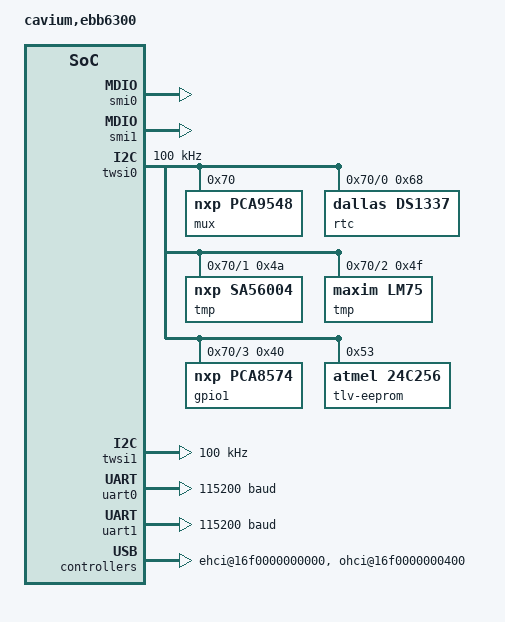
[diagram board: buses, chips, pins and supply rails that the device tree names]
/dts-v1/;
/*
 * Cavium Inc. EBB6300 board
 */
/ {
	model = "cavium,ebb6300";
	compatible = "cavium,ebb6300";
	#address-cells = <2>;
	#size-cells = <2>;
	interrupt-parent = <&ciu>;

	soc@0 {
		compatible = "simple-bus";
		#address-cells = <2>;
		#size-cells = <2>;
		ranges; /* Direct mapping */

		ciu: interrupt-controller@1070000000000 {
			compatible = "cavium,octeon-3860-ciu";
			interrupt-controller;
			/* Interrupts are specified by two parts:
			 * 1) Controller register (0 or 1)
			 * 2) Bit within the register (0..63)
			 */
			#interrupt-cells = <2>;
			reg = <0x10700 0x00000000 0x0 0x7000>;
		};

		gpio: gpio-controller@1070000000800 {
			#gpio-cells = <2>;
			compatible = "cavium,octeon-3860-gpio";
			reg = <0x10700 0x00000800 0x0 0x100>;
			gpio-controller;
			/* Interrupts are specified by two parts:
			 * 1) GPIO pin number (0..15)
			 * 2) Triggering (1 - edge rising
			 *		  2 - edge falling
			 *		  4 - level active high
			 *		  8 - level active low)
			 */
			interrupt-controller;
			#interrupt-cells = <2>;
			/* The GPIO pins connect to 16 consecutive CUI bits */
			interrupts = <0 16>; /* <0 17> <0 18> <0 19>
				     <0 20> <0 21> <0 22> <0 23>
				     <0 24> <0 25> <0 26> <0 27>
				     <0 28> <0 29> <0 30> <0 31>; */
		};

		smi0: mdio@1180000001800 {
			compatible = "cavium,octeon-3860-mdio";
			#address-cells = <1>;
			#size-cells = <0>;
			reg = <0x11800 0x00001800 0x0 0x40>;
		};

		smi1: mdio@1180000001900 {
			compatible = "cavium,octeon-3860-mdio";
			#address-cells = <1>;
			#size-cells = <0>;
			reg = <0x11800 0x00001900 0x0 0x40>;
		};

		pip: pip@11800a0000000 {
			compatible = "cavium,octeon-3860-pip";
			#address-cells = <1>;
			#size-cells = <0>;
			reg = <0x11800 0xa0000000 0x0 0x2000>;

			interface@X {
				cavium,qlm-trim = "0,sgmii";
				compatible = "cavium,octeon-3860-pip-interface";
				#address-cells = <1>;
				#size-cells = <0>;
				reg = <0>; /* interface */
			};

			interface@Y {
				cavium,qlm-trim = "0,xaui";
				compatible = "cavium,octeon-3860-pip-interface";
				#address-cells = <1>;
				#size-cells = <0>;
				reg = <0>; /* interface */
			};
		};

		twsi0: i2c@1180000001000 {
			#address-cells = <1>;
			#size-cells = <0>;
			compatible = "cavium,octeon-3860-twsi";
			reg = <0x11800 0x00001000 0x0 0x200>;
			interrupts = <0 45>;
			clock-frequency = <100000>;

			mux@70 {
				compatible = "nxp,pca9548";
				reg = <0x70>;
				#address-cells = <1>;
				#size-cells = <0>;

				i2c@0 {
					#address-cells = <1>;
					#size-cells = <0>;
					reg = <0>;

					rtc@68 {
						compatible = "dallas,ds1337";
						reg = <0x68>;
					};
				};
				i2c@1 {
					#address-cells = <1>;
					#size-cells = <0>;
					reg = <1>;
                        		tmp@4a {
			                	compatible = "nxp,sa56004";
				                reg = <0x4a>;
					};
				};
				i2c@2 {
					#address-cells = <1>;
					#size-cells = <0>;
					reg = <2>;
					tmp@4f {
						compatible = "maxim,lm75";
						reg = <0x4f>;
					};
				};

				i2c@3 {
					#address-cells = <1>;
					#size-cells = <0>;
					reg = <3>;

					gpio1: gpio@38 {
						compatible = "nxp,pca8574";
						reg = <0x40>;
						/* Two cells, the GPIO pin number and flags. */
						#gpio-cells = <2>;
						gpio-controller;
					};
				};

			};
			tlv-eeprom@53 {	/* board serial EEPROM */
				compatible = "atmel,24c256";
				reg = <0x53>;
				pagesize = <64>;
			};
		};

		twsi1: i2c@1180000001200 {
			#address-cells = <1>;
			#size-cells = <0>;
			compatible = "cavium,octeon-3860-twsi";
			reg = <0x11800 0x00001200 0x0 0x200>;
			interrupts = <0 59>;
			clock-frequency = <100000>;
		};

		uart0: serial@1180000000800 {
			compatible = "cavium,octeon-3860-uart","ns16550";
			reg = <0x11800 0x00000800 0x0 0x400>;
			clock-frequency = <0>;
			current-speed = <115200>;
			reg-shift = <3>;
			interrupts = <0 34>;
		};

		uart1: serial@1180000000c00 {
			compatible = "cavium,octeon-3860-uart","ns16550";
			reg = <0x11800 0x00000c00 0x0 0x400>;
			clock-frequency = <0>;
			current-speed = <115200>;
			reg-shift = <3>;
			interrupts = <0 35>;
		};

		bootbus: bootbus@1180000000000 {
			compatible = "cavium,octeon-3860-bootbus";
			reg = <0x11800 0x00000000 0x0 0x200>;
			/* The chip select number and offset */
			#address-cells = <2>;
			/* The size of the chip select region */
			#size-cells = <1>;
			ranges = <0 0  0x0     0x17c00000  0x8400000>,
				 <1 0  0x10000 0x30000000  0>,
				 <2 0  0x0     0x11000000  0x1000000>,
				 <3 0  0x10000 0x50000000  0>,
				 <4 0  0x10000 0x60000000  0>,
				 <5 0  0x10000 0x70000000  0>,
				 <6 0  0x10000 0x80000000  0>,
				 <7 0  0x10000 0x90000000  0>;

			cavium,cs-config@0 {
				compatible = "cavium,octeon-3860-bootbus-config";
				cavium,cs-index = <0>;
				cavium,t-adr  = <10>;
				cavium,t-ale = <34>;
				cavium,t-ce   = <50>;
				cavium,t-oe   = <50>;
				cavium,t-we   = <35>;
				cavium,t-rd-hld = <25>;
				cavium,t-wr-hld = <35>;
				cavium,t-pause  = <0>;
				cavium,t-wait   = <300>;
				cavium,t-page   = <25>;
				cavium,t-rd-dly = <0>;

				cavium,pages     = <0>;
				cavium,bus-width = <16>;
				cavium,ale-mode = <1>;
			};
			cavium,cs-config@2 {
				compatible = "cavium,octeon-3860-bootbus-config";
				cavium,cs-index  = <2>;
				cavium,t-adr     = <85>;
				cavium,t-ale     = <25>;
				cavium,t-ce      = <50>;
				cavium,t-oe      = <20>;
				cavium,t-we      = <46>;
				cavium,t-rd-hld  = <8>;
				cavium,t-wr-hld  = <10>;
				cavium,t-pause   = <0>;
				cavium,t-wait    = <0>;
				cavium,t-page    = <25>;
				cavium,t-rd-dly  = <0>;

				cavium,pages     = <0>;
				cavium,ale-mode  = <1>;
				cavium,bus-width = <16>;
			};

			flash0: nor@0,0 {
				compatible = "cfi-flash";
				reg = <0 0 0x8000000>;
				#address-cells = <1>;
				#size-cells = <1>;

				partition@0 {
					label = "bootloader";
					reg = <0x0 0x200000>;
					read-only;
				};
				partition@200000 {
					label = "kernel";
					reg = <0x200000 0x2e0000>;
				};
				partition@4e0000 {
					label = "jffs2";
					reg = <0x4e0000 0x7b00000>;
				};
				partition@7fe0000 {
					label = "environment";
					reg = <0x7fe0000 0x20000>;
					read-only;
				};
			};

			psram0: psram@2,0 {
				compatible = "micron,mt45w8mw16bgx";
				reg = <2 0 0x1000000>;
				#address-cells = <1>;
				#size-cells = <1>;
			};
		};

		dma0: dma-engine@1180000000100 {
			compatible = "cavium,octeon-5750-bootbus-dma";
			reg = <0x11800 0x00000100 0x0 0x8>;
			interrupts = <0 63>;
		};
		dma1: dma-engine@1180000000108 {
			compatible = "cavium,octeon-5750-bootbus-dma";
			reg = <0x11800 0x00000108 0x0 0x8>;
			interrupts = <0 63>;
		};

		uctl: uctl@118006f000000 {
			compatible = "cavium,octeon-6335-uctl";
			reg = <0x11800 0x6f000000 0x0 0x100>;
			ranges; /* Direct mapping */
			#address-cells = <2>;
			#size-cells = <2>;
			/* 12MHz, 24MHz and 48MHz allowed */
			refclk-frequency = <12000000>;
			/* Either "crystal" or "external" */
			refclk-type = "crystal";

			ehci@16f0000000000 {
				compatible = "cavium,octeon-6335-ehci","usb-ehci";
				reg = <0x16f00 0x00000000 0x0 0x100>;
				interrupts = <0 56>;
				big-endian-regs;
			};
			ohci@16f0000000400 {
				compatible = "cavium,octeon-6335-ohci","usb-ohci";
				reg = <0x16f00 0x00000400 0x0 0x100>;
				interrupts = <0 56>;
				big-endian-regs;
			};
		};
	};

	aliases {
		pip = &pip;
		smi0 = &smi0;
		smi1 = &smi1;
		twsi0 = &twsi0;
		twsi1 = &twsi1;
		uart0 = &uart0;
		uart1 = &uart1;
		flash0 = &flash0;
		psram0 = &psram0;
	};
 };
